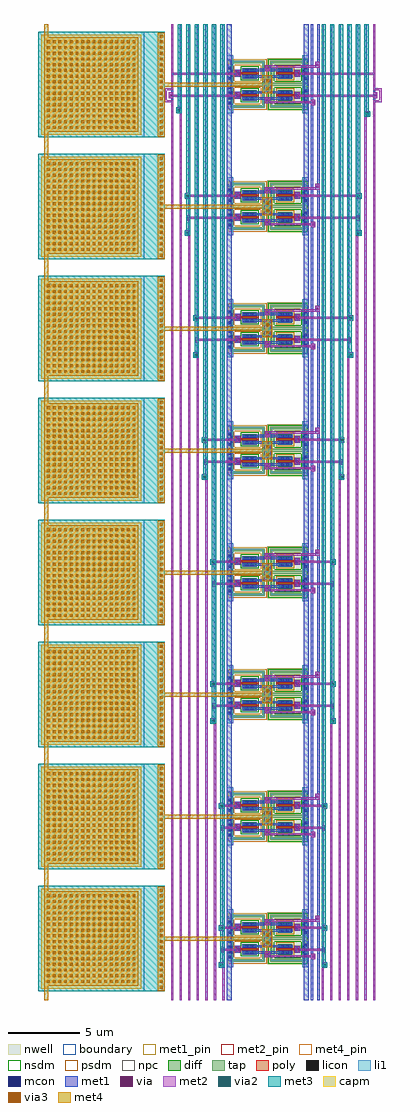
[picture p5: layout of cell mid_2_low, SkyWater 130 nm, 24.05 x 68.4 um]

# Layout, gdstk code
from math import pi, radians
import gdstk
lib = gdstk.Library(unit=1e-6, precision=1e-09)
def R(c, l, rs):  # rectangles x0, y0, x1, y1
    for r in rs: c.add(gdstk.rectangle(r[:2], r[2:], *l))
def A(c, l, x, y, w, h, nx, ny, dx, dy):  # array of equal rectangles
    R(c, l, [(x+i*dx, y+j*dy, x+i*dx+w, y+j*dy+h) for i in range(nx) for j in range(ny)])
nwell = (64, 20)
diff = (65, 20)
tap = (65, 44)
poly = (66, 20)
licon = (66, 44)
li1 = (67, 20)
mcon = (67, 44)
met1_pin = (68, 16)
met1 = (68, 20)
via = (68, 44)
met2_pin = (69, 16)
met2 = (69, 20)
via2 = (69, 44)
met3 = (70, 20)
via3 = (70, 44)
met4_pin = (71, 16)
met4 = (71, 20)
capm = (89, 44)
nsdm = (93, 44)
psdm = (94, 20)
npc = (95, 20)
boundary = (235, 4)

sky130_fd_pr__nfet_01v8_ = lib.new_cell('sky130_fd_pr__nfet_01v8_5WP7M2')
R(sky130_fd_pr__nfet_01v8_, diff, [(-0.365,-0.345,0.365,0.655)])
R(sky130_fd_pr__nfet_01v8_, tap, [(-0.875,-1.215,0.875,-1.045), (-0.875,-1.045,-0.705,1.045), (0.705,-1.045,0.875,1.045), (-0.875,1.045,0.875,1.215)])
R(sky130_fd_pr__nfet_01v8_, poly, [(-0.165,-0.785,0.165,-0.455), (-0.075,-0.455,0.075,0.785)])
A(sky130_fd_pr__nfet_01v8_, licon, -0.305, -0.27, 0.17, 0.17, 1, 3, 0, 0.34)
A(sky130_fd_pr__nfet_01v8_, licon, 0.135, -0.27, 0.17, 0.17, 1, 3, 0, 0.34)
R(sky130_fd_pr__nfet_01v8_, licon, [(-0.255,-1.215,-0.085,-1.045), (0.085,-1.215,0.255,-1.045), (-0.085,-0.705,0.085,-0.535)])
R(sky130_fd_pr__nfet_01v8_, li1, [(-0.475,-1.215,0.475,-1.045), (-0.165,-0.705,0.165,-0.535), (-0.305,-0.365,-0.135,0.675), (0.135,-0.365,0.305,0.675)])
R(sky130_fd_pr__nfet_01v8_, mcon, [(-0.085,-0.705,0.085,-0.535), (-0.305,-0.11,-0.135,0.06), (0.135,-0.11,0.305,0.06), (-0.305,0.25,-0.135,0.42), (0.135,0.25,0.305,0.42)])
R(sky130_fd_pr__nfet_01v8_, met1, [(-0.145,-0.735,0.145,-0.505), (-0.335,-0.345,-0.105,0.655), (0.105,-0.345,0.335,0.655)])
R(sky130_fd_pr__nfet_01v8_, nsdm, [(-0.49,-0.47,0.49,0.78)])
R(sky130_fd_pr__nfet_01v8_, psdm, [(-1,-1.34,1,-0.92), (-1,-0.92,-0.58,0.92), (0.58,-0.92,1,0.92), (-1,0.92,1,1.34)])
R(sky130_fd_pr__nfet_01v8_, npc, [(-0.185,-0.805,0.185,-0.435)])
R(sky130_fd_pr__nfet_01v8_, boundary, [(-0.79,-1.13,0.79,1.13)])

sky130_fd_pr__pfet_01v8_ = lib.new_cell('sky130_fd_pr__pfet_01v8_NKK3FE')
R(sky130_fd_pr__pfet_01v8_, nwell, [(-1.055,-1.42,1.055,1.42)])
R(sky130_fd_pr__pfet_01v8_, diff, [(-0.365,-0.68,0.365,0.32)])
R(sky130_fd_pr__pfet_01v8_, tap, [(-0.875,-1.24,0.875,-1.07), (-0.875,-1.07,-0.705,1.07), (0.705,-1.07,0.875,1.07), (-0.875,1.07,0.875,1.24)])
R(sky130_fd_pr__pfet_01v8_, poly, [(-0.075,-0.81,0.075,0.475), (-0.165,0.475,0.165,0.805)])
A(sky130_fd_pr__pfet_01v8_, licon, -0.305, -0.605, 0.17, 0.17, 1, 3, 0, 0.34)
A(sky130_fd_pr__pfet_01v8_, licon, 0.135, -0.605, 0.17, 0.17, 1, 3, 0, 0.34)
R(sky130_fd_pr__pfet_01v8_, licon, [(-0.085,0.555,0.085,0.725), (-0.255,1.07,-0.085,1.24), (0.085,1.07,0.255,1.24)])
R(sky130_fd_pr__pfet_01v8_, li1, [(-0.305,-0.7,-0.135,0.34), (0.135,-0.7,0.305,0.34), (-0.165,0.555,0.165,0.725), (-0.475,1.07,0.475,1.24)])
R(sky130_fd_pr__pfet_01v8_, mcon, [(-0.305,-0.445,-0.135,-0.275), (0.135,-0.445,0.305,-0.275), (-0.305,-0.085,-0.135,0.085), (0.135,-0.085,0.305,0.085), (-0.085,0.555,0.085,0.725)])
R(sky130_fd_pr__pfet_01v8_, met1, [(-0.335,-0.68,-0.105,0.32), (0.105,-0.68,0.335,0.32), (-0.145,0.525,0.145,0.755)])
R(sky130_fd_pr__pfet_01v8_, nsdm, [(-1,-1.365,1,-0.945), (-1,-0.945,-0.58,0.945), (0.58,-0.945,1,0.945), (-1,0.945,1,1.365)])
R(sky130_fd_pr__pfet_01v8_, psdm, [(-0.49,-0.805,0.49,0.445)])
R(sky130_fd_pr__pfet_01v8_, npc, [(-0.185,0.455,0.185,0.825)])
R(sky130_fd_pr__pfet_01v8_, boundary, [(-0.79,-1.155,0.79,1.155)])

c_sky130_fd_pr__pfet_01v8_ = lib.new_cell('sky130_fd_pr__pfet_01v8_QKK3FL')
R(c_sky130_fd_pr__pfet_01v8_, nwell, [(-1.055,-1.42,1.055,1.42)])
R(c_sky130_fd_pr__pfet_01v8_, diff, [(-0.365,-0.32,0.365,0.68)])
R(c_sky130_fd_pr__pfet_01v8_, tap, [(-0.875,-1.24,0.875,-1.07), (-0.875,-1.07,-0.705,1.07), (0.705,-1.07,0.875,1.07), (-0.875,1.07,0.875,1.24)])
R(c_sky130_fd_pr__pfet_01v8_, poly, [(-0.165,-0.805,0.165,-0.475), (-0.075,-0.475,0.075,0.81)])
A(c_sky130_fd_pr__pfet_01v8_, licon, -0.305, -0.245, 0.17, 0.17, 1, 3, 0, 0.34)
A(c_sky130_fd_pr__pfet_01v8_, licon, 0.135, -0.245, 0.17, 0.17, 1, 3, 0, 0.34)
R(c_sky130_fd_pr__pfet_01v8_, licon, [(-0.255,-1.24,-0.085,-1.07), (0.085,-1.24,0.255,-1.07), (-0.085,-0.725,0.085,-0.555)])
R(c_sky130_fd_pr__pfet_01v8_, li1, [(-0.475,-1.24,0.475,-1.07), (-0.165,-0.725,0.165,-0.555), (-0.305,-0.34,-0.135,0.7), (0.135,-0.34,0.305,0.7)])
R(c_sky130_fd_pr__pfet_01v8_, mcon, [(-0.085,-0.725,0.085,-0.555), (-0.305,-0.085,-0.135,0.085), (0.135,-0.085,0.305,0.085), (-0.305,0.275,-0.135,0.445), (0.135,0.275,0.305,0.445)])
R(c_sky130_fd_pr__pfet_01v8_, met1, [(-0.145,-0.755,0.145,-0.525), (-0.335,-0.32,-0.105,0.68), (0.105,-0.32,0.335,0.68)])
R(c_sky130_fd_pr__pfet_01v8_, nsdm, [(-1,-1.365,1,-0.945), (-1,-0.945,-0.58,0.945), (0.58,-0.945,1,0.945), (-1,0.945,1,1.365)])
R(c_sky130_fd_pr__pfet_01v8_, psdm, [(-0.49,-0.445,0.49,0.805)])
R(c_sky130_fd_pr__pfet_01v8_, npc, [(-0.185,-0.825,0.185,-0.455)])
R(c_sky130_fd_pr__pfet_01v8_, boundary, [(-0.79,-1.155,0.79,1.155)])

c_sky130_fd_pr__nfet_01v8_ = lib.new_cell('sky130_fd_pr__nfet_01v8_5WU4M2')
R(c_sky130_fd_pr__nfet_01v8_, diff, [(-0.365,-0.655,0.365,0.345)])
R(c_sky130_fd_pr__nfet_01v8_, tap, [(-0.875,-1.215,0.875,-1.045), (-0.875,-1.045,-0.705,1.045), (0.705,-1.045,0.875,1.045), (-0.875,1.045,0.875,1.215)])
R(c_sky130_fd_pr__nfet_01v8_, poly, [(-0.075,-0.785,0.075,0.455), (-0.165,0.455,0.165,0.785)])
A(c_sky130_fd_pr__nfet_01v8_, licon, -0.305, -0.58, 0.17, 0.17, 1, 3, 0, 0.34)
A(c_sky130_fd_pr__nfet_01v8_, licon, 0.135, -0.58, 0.17, 0.17, 1, 3, 0, 0.34)
R(c_sky130_fd_pr__nfet_01v8_, licon, [(-0.085,0.535,0.085,0.705), (-0.255,1.045,-0.085,1.215), (0.085,1.045,0.255,1.215)])
R(c_sky130_fd_pr__nfet_01v8_, li1, [(-0.305,-0.675,-0.135,0.365), (0.135,-0.675,0.305,0.365), (-0.165,0.535,0.165,0.705), (-0.475,1.045,0.475,1.215)])
R(c_sky130_fd_pr__nfet_01v8_, mcon, [(-0.305,-0.42,-0.135,-0.25), (0.135,-0.42,0.305,-0.25), (-0.305,-0.06,-0.135,0.11), (0.135,-0.06,0.305,0.11), (-0.085,0.535,0.085,0.705)])
R(c_sky130_fd_pr__nfet_01v8_, met1, [(-0.335,-0.655,-0.105,0.345), (0.105,-0.655,0.335,0.345), (-0.145,0.505,0.145,0.735)])
R(c_sky130_fd_pr__nfet_01v8_, nsdm, [(-0.49,-0.78,0.49,0.47)])
R(c_sky130_fd_pr__nfet_01v8_, psdm, [(-1,-1.34,1,-0.92), (-1,-0.92,-0.58,0.92), (0.58,-0.92,1,0.92), (-1,0.92,1,1.34)])
R(c_sky130_fd_pr__nfet_01v8_, npc, [(-0.185,0.435,0.185,0.805)])
R(c_sky130_fd_pr__nfet_01v8_, boundary, [(-0.79,-1.13,0.79,1.13)])

sky130_fd_pr__cap_mim_m3 = lib.new_cell('sky130_fd_pr__cap_mim_m3_1_BZXSER')
R(sky130_fd_pr__cap_mim_m3, met3, [(-4.43,-3.7,4.43,3.7)])
A(sky130_fd_pr__cap_mim_m3, via3, 4.07, -3.5, 0.2, 0.2, 1, 18, 0, 0.4)
A(sky130_fd_pr__cap_mim_m3, via3, -3.83, -3.1, 0.2, 0.2, 16, 16, 0.4, 0.4)
R(sky130_fd_pr__cap_mim_m3, met4, [(3.93,-3.64,4.41,3.64), (-4.035,-3.305,2.575,3.305)])
R(sky130_fd_pr__cap_mim_m3, capm, [(-4.23,-3.5,2.77,3.5)])
R(sky130_fd_pr__cap_mim_m3, boundary, [(-4.43,-3.7,2.97,3.7)])

cap_final = lib.new_cell('cap_final')
R(cap_final, li1, [(3.55,-4.75,7.6,-4.3), (3.55,0.55,7.6,1)])
A(cap_final, mcon, 4.355, -4.635, 0.17, 0.17, 3, 2, 0.36, 5.35)
A(cap_final, mcon, 5.725, -4.635, 0.17, 0.17, 4, 1, 0.36, 0)
A(cap_final, mcon, 5.955, 0.715, 0.17, 0.17, 3, 1, 0.36, 0)
R(cap_final, met1_pin, [(3.85,-4.7,4.15,-4.4), (5.4,-4.7,5.7,-4.4), (4.31,-2.04,4.61,-1.74), (6.56,-2.04,6.86,-1.74), (4.64,0.04,4.94,0.34), (6.17,0.06,6.47,0.36), (3.85,0.65,4.15,0.95), (5.5,0.65,5.75,0.95)])
R(cap_final, met1, [(1.35,-5.05,5.5,-4.9), (5.65,-5.05,9.9,-4.9), (1.35,-4.75,9.9,-4.4), (4.55,-4.2,5.05,-3.8), (6.1,-4.2,6.6,-3.8), (4.5,-2.7,4.65,-2.1), (4.95,-2.7,5.1,-2.1), (6.05,-2.7,6.2,-2.1), (6.5,-2.7,6.65,-2.1), (4.25,-2.1,4.65,-1.7), (4.95,-2.1,6.2,-1.7), (6.5,-2.1,6.9,-1.7), (4.5,-1.7,4.65,-1.1), (4.95,-1.7,5.1,-1.1), (6.05,-1.7,6.2,-1.1), (6.5,-1.7,6.65,-1.1), (4.55,0,5.05,0.4), (6.1,0,6.6,0.4), (1.35,0.65,9.9,1), (1.35,1.15,9.9,1.3), (6.65,1.3,7.05,1.45), (4,1.45,4.4,1.6), (1.35,1.6,9.9,1.75), (1.35,1.9,9.9,2.05)])
R(cap_final, via, [(4.725,-4.075,4.875,-3.925), (6.275,-4.075,6.425,-3.925), (4.375,-1.975,4.525,-1.825), (5.225,-1.975,5.375,-1.825), (5.775,-1.975,5.925,-1.825), (6.625,-1.975,6.775,-1.825), (4.725,0.125,4.875,0.275), (6.275,0.125,6.425,0.275), (6.775,1.225,6.925,1.375), (4.125,1.525,4.275,1.675)])
R(cap_final, met2_pin, [(4.65,-4.15,4.95,-3.85), (6.2,-4.15,6.5,-3.85)])
R(cap_final, met2, [(4.75,-4.85,4.9,-4.2), (6.3,-4.85,6.45,-4.2), (4.6,-4.2,5,-3.8), (6.15,-4.2,6.55,-3.8), (5.05,-2.15,6.1,-1.65), (4.25,-2.1,4.65,-1.7), (6.5,-2.1,6.9,-1.7), (4.25,-1.7,4.4,1.45), (6.75,-1.7,6.9,1.15), (4.6,0,5,0.4), (6.15,0,6.55,0.4), (4.75,0.4,4.9,1.85), (6.3,0.4,6.45,1.85), (6.65,1.15,7.05,1.45), (4,1.45,4.4,1.75)])
R(cap_final, via2, [(5.225,-1.975,5.425,-1.775), (5.775,-1.975,5.975,-1.775)])
R(cap_final, met3, [(4.95,-2.25,6.2,-1.55)])
R(cap_final, via3, [(5.225,-2,5.425,-1.8), (5.775,-2,5.975,-1.8)])
R(cap_final, met4_pin, [(2.45,-17.35,2.75,-17.05)])
R(cap_final, met4, [(2.4,-17.4,2.75,-17.05), (5.45,-9.5,5.75,-2.25), (4.95,-2.25,6.2,-1.55)])
cap_final.add(gdstk.Reference(sky130_fd_pr__nfet_01v8_, (4.805,-3.305)))
cap_final.add(gdstk.Reference(sky130_fd_pr__pfet_01v8_, (4.805,-0.48)))
cap_final.add(gdstk.Reference(c_sky130_fd_pr__pfet_01v8_, (6.355,-0.48), rotation=pi))
cap_final.add(gdstk.Reference(c_sky130_fd_pr__nfet_01v8_, (6.355,-3.305), rotation=pi))
cap_final.add(gdstk.Reference(sky130_fd_pr__cap_mim_m3, (5.6,-13.52), rotation=pi/2, x_reflection=True))
cap_final.add(gdstk.Label('com_x', (2.6,-17.2), layer=71, texttype=5))
cap_final.add(gdstk.Label('sub', (5.55,-4.55), layer=68, texttype=5))
cap_final.add(gdstk.Label('phi1', (4.8,-4), layer=69, texttype=5))
cap_final.add(gdstk.Label('Vdd', (4,0.8), layer=68, texttype=5))
cap_final.add(gdstk.Label('phi1_n', (4.79,0.19), layer=68, texttype=5))
cap_final.add(gdstk.Label('Vin', (4.46,-1.89), layer=68, texttype=5))
cap_final.add(gdstk.Label('sub', (4,-4.55), layer=68, texttype=5))
cap_final.add(gdstk.Label('Vdd', (5.625,0.8), layer=68, texttype=5))
cap_final.add(gdstk.Label('phi2', (6.35,-4), layer=69, texttype=5))
cap_final.add(gdstk.Label('GND', (6.71,-1.89), layer=68, texttype=5))
cap_final.add(gdstk.Label('phi2_n', (6.32,0.21), layer=68, texttype=5))

c_8_cap_array_final = lib.new_cell('8_cap_array_final')
A(c_8_cap_array_final, met1, -0.65, 8.15, 68.4, 0.15, 1, 6, 0, 0.6)
A(c_8_cap_array_final, met1, -0.65, 19.3, 68.4, 0.15, 1, 6, 0, 0.6)
R(c_8_cap_array_final, met1, [(-0.05,11.75,7.05,11.9), (8.75,11.75,14.85,11.9), (18.5,11.75,23.9,11.9), (26.95,11.75,32.35,11.9), (35.4,11.75,41.05,11.9), (44.1,11.75,49.65,11.9), (52.7,11.75,58.35,11.9), (61.4,11.75,66.15,11.9), (-0.05,12.05,7.05,12.4), (8.75,12.05,14.85,12.4), (18.5,12.05,23.9,12.4), (26.95,12.05,32.35,12.4), (35.4,12.05,41.05,12.4), (44.1,12.05,49.65,12.4), (52.7,12.05,58.35,12.4), (61.4,12.05,66.15,12.4), (-0.05,17.45,7.05,17.8), (8.75,17.45,14.85,17.8), (18.5,17.45,23.9,17.8), (26.95,17.45,32.35,17.8), (35.4,17.45,41.05,17.8), (44.1,17.45,49.65,17.8), (52.7,17.45,58.35,17.8), (61.4,17.45,66.15,17.8), (-0.05,17.95,7.05,18.1), (8.75,17.95,14.85,18.1), (18.5,17.95,23.9,18.1), (26.95,17.95,32.35,18.1), (35.4,17.95,41.05,18.1), (44.1,17.95,49.65,18.1), (52.7,17.95,58.35,18.1), (61.4,17.95,66.15,18.1), (-0.05,18.4,7.05,18.55), (8.75,18.4,14.85,18.55), (18.5,18.4,23.9,18.55), (26.95,18.4,32.35,18.55), (35.4,18.4,41.05,18.55), (44.1,18.4,49.65,18.55), (52.7,18.4,58.35,18.55), (61.4,18.4,66.15,18.55), (-0.05,18.7,7.05,18.85), (8.75,18.7,14.85,18.85), (18.5,18.7,23.9,18.85), (26.95,18.7,32.35,18.85), (35.4,18.7,41.05,18.85), (44.1,18.7,49.65,18.85), (52.7,18.7,58.35,18.85), (61.4,18.7,66.15,18.85)])
R(c_8_cap_array_final, met4, [(-0.65,-0.75,67.75,-0.45)])
c_8_cap_array_final.add(gdstk.Reference(cap_final, (49.3,16.8)))
c_8_cap_array_final.add(gdstk.Reference(cap_final, (40.75,16.8)))
c_8_cap_array_final.add(gdstk.Reference(cap_final, (32.2,16.8)))
c_8_cap_array_final.add(gdstk.Reference(cap_final, (23.65,16.8)))
c_8_cap_array_final.add(gdstk.Reference(cap_final, (15.1,16.8)))
c_8_cap_array_final.add(gdstk.Reference(cap_final, (6.55,16.8)))
c_8_cap_array_final.add(gdstk.Reference(cap_final, (57.85,16.8)))
c_8_cap_array_final.add(gdstk.Reference(cap_final, (-2,16.8)))

mid_2_low = lib.new_cell('mid_2_low')
R(mid_2_low, met1, [(9.3,-68.4,9.45,-5.5), (9.9,-68.4,10.05,-6.25), (10.5,-68.4,10.65,-13.8), (11.1,-68.4,11.25,-31.95), (11.7,-68.4,11.85,-49.05), (12.3,-68.4,12.45,-66.15), (21.05,-68.4,21.2,-49.05), (21.65,-68.4,21.8,-31.95), (22.25,-68.4,22.4,-23.4), (22.85,-68.4,23,-14.85), (23.45,-68.4,23.6,-14.85), (12.9,-66.15,13.05,-65.1), (19.85,-66.15,20,-65.1), (12.75,-65.1,13.05,-64.7), (19.85,-65.1,20.15,-64.7), (12.9,-64.7,13.05,-63.15), (19.85,-64.7,20,-63.15), (12.75,-56.55,13.05,-56.15), (19.85,-56.55,20.15,-56.15), (12.9,-56.15,13.05,-55.7), (19.85,-56.15,20,-54.6), (12.9,-55.4,13.05,-54.6), (12.3,-49.05,12.45,-48), (20.45,-49.05,20.6,-48), (12.15,-48,12.45,-47.6), (20.45,-48,20.75,-47.6), (12.3,-47.6,12.45,-46.05), (20.45,-47.6,20.6,-46.05), (12.15,-39.45,12.45,-39.05), (20.45,-39.45,20.75,-39.05), (12.3,-39.05,12.45,-38.6), (20.45,-39.05,20.6,-37.5), (12.3,-38.3,12.45,-37.5), (11.7,-31.95,11.85,-30.9), (21.05,-31.95,21.2,-30.9), (11.55,-30.9,11.85,-30.5), (21.05,-30.9,21.35,-30.5), (11.7,-30.5,11.85,-30.05), (21.05,-30.5,21.2,-28.95), (11.7,-29.75,11.85,-28.95), (11.1,-23.4,11.25,-22.35), (21.65,-23.4,21.8,-22.35), (10.95,-22.35,11.25,-21.95), (21.65,-22.35,21.95,-21.95), (11.1,-21.95,11.25,-21.5), (21.65,-21.95,21.8,-20.4), (11.1,-21.2,11.25,-20.4), (10.35,-13.8,10.65,-13.4), (22.25,-13.8,22.55,-13.4), (10.5,-13.4,10.65,-12.95), (22.25,-13.4,22.4,-11.85), (10.5,-12.65,10.65,-11.85), (23.45,-5.9,23.6,-5.35), (9.15,-5.2,9.45,-4.8), (23.45,-5.2,23.75,-4.8), (9.3,-4.65,9.45,0), (23.45,-3.55,23.6,-2.25)])
R(mid_2_low, via, [(12.825,-64.975,12.975,-64.825), (19.925,-64.975,20.075,-64.825), (12.825,-56.425,12.975,-56.275), (19.925,-56.425,20.075,-56.275), (12.225,-47.875,12.375,-47.725), (20.525,-47.875,20.675,-47.725), (12.225,-39.325,12.375,-39.175), (20.525,-39.325,20.675,-39.175), (11.625,-30.775,11.775,-30.625), (21.125,-30.775,21.275,-30.625), (11.025,-22.225,11.175,-22.075), (21.725,-22.225,21.875,-22.075), (10.425,-13.675,10.575,-13.525), (22.325,-13.675,22.475,-13.525), (9.225,-5.075,9.375,-4.925), (23.525,-5.075,23.675,-4.925)])
R(mid_2_low, met2, [(9.3,-68.4,9.45,-5.5), (9.9,-68.4,10.05,-6.25), (10.5,-68.4,10.65,-14.85), (11.1,-68.4,11.25,-23.4), (11.7,-68.4,11.85,-31.95), (12.3,-68.4,12.45,-49.05), (12.9,-68.4,13.05,-66.15), (19.85,-68.4,20,-66.15), (20.45,-68.4,20.6,-49.05), (21.05,-68.4,21.2,-31.95), (21.65,-68.4,21.8,-23.4), (22.25,-68.4,22.4,-14.85), (22.85,-68.4,23,-6.5), (23.45,-68.4,23.6,-5.5), (12.65,-66.15,13.05,-65.75), (19.85,-66.15,20.25,-65.75), (12.75,-65.1,13.05,-64.95), (19.85,-65.1,20.15,-64.95), (12.75,-64.95,13.1,-64.8), (19.8,-64.95,20.15,-64.8), (12.75,-64.8,13.05,-64.7), (19.85,-64.8,20.15,-64.7), (12.65,-63.55,13.05,-63.4), (19.85,-63.55,20.25,-63.4), (12.65,-63.4,13.1,-63.25), (19.8,-63.4,20.25,-63.25), (12.65,-63.25,13.05,-63.15), (19.85,-63.25,20.25,-63.15), (12.75,-56.55,13.05,-56.4), (19.85,-56.55,20.15,-56.4), (12.75,-56.4,13.1,-56.25), (19.8,-56.4,20.15,-56.25), (12.75,-56.25,13.05,-56.15), (19.85,-56.25,20.15,-56.15), (12.65,-55,13.05,-54.85), (19.85,-55,20.25,-54.85), (12.65,-54.85,13.1,-54.7), (19.8,-54.85,20.25,-54.7), (12.65,-54.7,13.05,-54.6), (19.85,-54.7,20.25,-54.6), (12.05,-49.05,12.45,-48.65), (20.45,-49.05,20.85,-48.65), (12.15,-48,12.45,-47.85), (20.45,-48,20.75,-47.85), (12.15,-47.85,13.1,-47.7), (19.8,-47.85,20.75,-47.7), (12.15,-47.7,12.45,-47.6), (20.45,-47.7,20.75,-47.6), (12.05,-46.45,12.45,-46.3), (20.45,-46.45,20.85,-46.3), (12.05,-46.3,13.1,-46.15), (19.8,-46.3,20.85,-46.15), (12.05,-46.15,12.45,-46.05), (20.45,-46.15,20.85,-46.05), (12.15,-39.45,12.45,-39.3), (20.45,-39.45,20.75,-39.3), (12.15,-39.3,13.1,-39.15), (19.8,-39.3,20.75,-39.15), (12.15,-39.15,12.45,-39.05), (20.45,-39.15,20.75,-39.05), (12.05,-37.9,12.45,-37.75), (20.45,-37.9,20.85,-37.75), (12.05,-37.75,13.1,-37.6), (19.8,-37.75,20.85,-37.6), (12.05,-37.6,12.45,-37.5), (20.45,-37.6,20.85,-37.5), (11.45,-31.95,11.85,-31.55), (21.05,-31.95,21.45,-31.55), (11.55,-30.9,11.85,-30.75), (21.05,-30.9,21.35,-30.75), (11.55,-30.75,13.1,-30.6), (19.8,-30.75,21.35,-30.6), (11.55,-30.6,11.85,-30.5), (21.05,-30.6,21.35,-30.5), (11.45,-29.35,11.85,-29.2), (21.05,-29.35,21.45,-29.2), (11.45,-29.2,13.1,-29.05), (19.8,-29.2,21.45,-29.05), (11.45,-29.05,11.85,-28.95), (21.05,-29.05,21.45,-28.95), (10.85,-23.4,11.25,-23), (21.65,-23.4,22.05,-23), (10.95,-22.35,11.25,-22.2), (21.65,-22.35,21.95,-22.2), (10.95,-22.2,13.15,-22.05), (19.8,-22.2,21.95,-22.05), (10.95,-22.05,11.25,-21.95), (21.65,-22.05,21.95,-21.95), (10.85,-20.8,11.25,-20.65), (21.65,-20.8,22.05,-20.65), (10.85,-20.65,13.15,-20.5), (19.8,-20.65,22.05,-20.5), (10.85,-20.5,11.25,-20.4), (21.65,-20.5,22.05,-20.4), (10.25,-14.85,10.65,-14.45), (22.25,-14.85,22.65,-14.45), (10.35,-13.8,10.65,-13.65), (22.25,-13.8,22.55,-13.65), (10.35,-13.65,13.1,-13.5), (19.8,-13.65,22.55,-13.5), (10.35,-13.5,10.65,-13.4), (22.25,-13.5,22.55,-13.4), (10.25,-12.25,10.65,-12.1), (22.25,-12.25,22.65,-12.1), (10.25,-12.1,13.1,-11.95), (19.8,-12.1,22.65,-11.95), (10.25,-11.95,10.65,-11.85), (22.25,-11.95,22.65,-11.85), (22.85,-6.5,23.25,-6.1), (9.65,-6.25,10.05,-5.85), (8.85,-5.5,9.45,-5.35), (23.45,-5.5,24.05,-5.35), (8.85,-5.35,9,-4.65), (23.9,-5.35,24.05,-4.65), (9.15,-5.2,9.45,-5.1), (23.45,-5.2,23.75,-5.1), (9.15,-5.1,13.1,-4.95), (19.8,-5.1,23.75,-4.95), (9.15,-4.95,9.45,-4.8), (23.45,-4.95,23.75,-4.8), (8.85,-4.65,9.45,-4.5), (23.45,-4.65,24.05,-4.5), (9.3,-4.5,9.45,-3.55), (23.45,-4.5,23.6,-3.55), (9.3,-3.55,13.1,-3.4), (19.8,-3.55,23.6,-3.4), (9.3,-3.4,9.45,0), (23.45,-3.4,23.6,0)])
R(mid_2_low, via2, [(12.75,-66.05,12.95,-65.85), (19.95,-66.05,20.15,-65.85), (12.75,-63.45,12.95,-63.25), (19.95,-63.45,20.15,-63.25), (12.75,-54.9,12.95,-54.7), (19.95,-54.9,20.15,-54.7), (12.15,-48.95,12.35,-48.75), (20.55,-48.95,20.75,-48.75), (12.15,-46.35,12.35,-46.15), (20.55,-46.35,20.75,-46.15), (12.15,-37.8,12.35,-37.6), (20.55,-37.8,20.75,-37.6), (11.55,-31.85,11.75,-31.65), (21.15,-31.85,21.35,-31.65), (11.55,-29.25,11.75,-29.05), (21.15,-29.25,21.35,-29.05), (10.95,-23.3,11.15,-23.1), (21.75,-23.3,21.95,-23.1), (10.95,-20.7,11.15,-20.5), (21.75,-20.7,21.95,-20.5), (10.35,-14.75,10.55,-14.55), (22.35,-14.75,22.55,-14.55), (10.35,-12.15,10.55,-11.95), (22.35,-12.15,22.55,-11.95), (22.95,-6.4,23.15,-6.2), (9.75,-6.15,9.95,-5.95)])
R(mid_2_low, met3, [(12.65,-66.15,13.05,-65.75), (19.85,-66.15,20.25,-65.75), (12.75,-65.75,13.05,-63.55), (19.85,-65.75,20.15,-63.55), (12.65,-63.55,13.05,-63.15), (19.85,-63.55,20.25,-63.15), (12.75,-63.15,13.05,-55), (19.85,-63.15,20.15,-55), (12.65,-55,13.05,-54.6), (19.85,-55,20.25,-54.6), (12.75,-54.6,13.05,0), (19.85,-54.6,20.15,0), (12.05,-49.05,12.45,-48.65), (20.45,-49.05,20.85,-48.65), (12.15,-48.65,12.45,-46.45), (20.45,-48.65,20.75,-46.45), (12.05,-46.45,12.45,-46.05), (20.45,-46.45,20.85,-46.05), (12.15,-46.05,12.45,-37.9), (20.45,-46.05,20.75,-37.9), (12.05,-37.9,12.45,-37.5), (20.45,-37.9,20.85,-37.5), (12.15,-37.5,12.45,0), (20.45,-37.5,20.75,0), (11.45,-31.95,11.85,-31.55), (21.05,-31.95,21.45,-31.55), (11.55,-31.55,11.85,-29.35), (21.05,-31.55,21.35,-29.35), (11.45,-29.35,11.85,-28.95), (21.05,-29.35,21.45,-28.95), (11.55,-28.95,11.85,0), (21.05,-28.95,21.35,0), (10.85,-23.4,11.25,-23), (21.65,-23.4,22.05,-23), (10.95,-23,11.25,-20.8), (21.65,-23,21.95,-20.8), (10.85,-20.8,11.25,-20.4), (21.65,-20.8,22.05,-20.4), (10.95,-20.4,11.25,0), (21.65,-20.4,21.95,0), (10.25,-14.85,10.65,-14.45), (22.25,-14.85,22.65,-14.45), (10.35,-14.45,10.65,-12.25), (22.25,-14.45,22.55,-12.25), (10.25,-12.25,10.65,-11.85), (22.25,-12.25,22.65,-11.85), (10.35,-11.85,10.65,0), (22.25,-11.85,22.55,0), (22.85,-6.5,23.25,-6.1), (9.65,-6.25,10.05,-5.85), (22.85,-6.1,23.15,0), (9.75,-5.85,10.05,0)])
R(mid_2_low, met4, [(12.05,-47.15,12.45,-46.85)])
mid_2_low.add(gdstk.Reference(c_8_cap_array_final, (1.15,-0.65), rotation=3*pi/2))

lib.write_gds('mid_2_low.gds')
